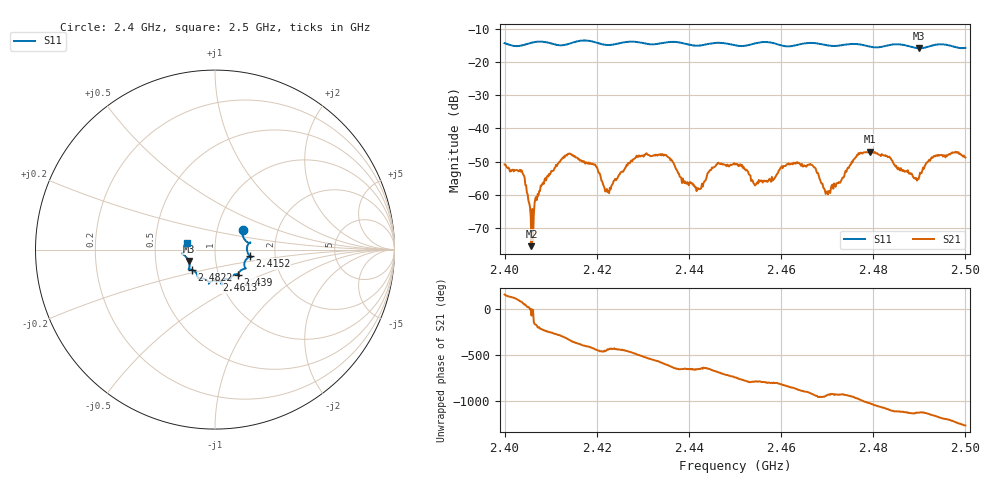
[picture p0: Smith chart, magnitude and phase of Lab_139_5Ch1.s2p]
# Hz S RI R 50
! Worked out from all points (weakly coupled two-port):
!   601 points, 2.4 GHz to 2.5 GHz, reference 50 ohm
!   highest |S21| = -46.96 dB at 2.4793 GHz (marker M1); lowest = -75.4 dB at 2.4058 GHz (marker M2)
!   lowest |S11| = -15.9 dB at 2.49 GHz (marker M3), VSWR 1.38, Z = 36.9 - j4.84 ohm
!   |S11| at or under -10 dB: start of sweep to end of sweep
!   S12 and S22 are empty: the file has one direction only
!   S11 on the Smith chart (normalised r, x): 2.4 GHz: 1.33, +0.31; 2.4152 GHz: 1.48, -0.11; 2.439 GHz: 1.24, -0.36; 2.4613 GHz: 0.96, -0.34; 2.4822 GHz: 0.76, -0.17; 2.5 GHz: 0.72, +0.05
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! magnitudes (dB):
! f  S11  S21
! 2.4 GHz  -14.4  -50.8
! 2.4038 GHz  -15.0  -53.1
! 2.4058 GHz  -14.2  -75.4
! 2.4083 GHz  -13.9  -56.3
! 2.4152 GHz  -14.1  -48.3
! 2.4167 GHz  -13.6  -49.7
! 2.4223 GHz  -14.9  -59.2
! 2.4283 GHz  -14.0  -48.9
! 2.4333 GHz  -14.6  -48.0
! 2.439 GHz  -14.5  -56.4
! 2.4422 GHz  -15.1  -58.3
! 2.45 GHz  -15.0  -50.9
! 2.4545 GHz  -14.4  -56.9
! 2.4613 GHz  -15.3  -50.7
! 2.4667 GHz  -14.3  -51.0
! 2.4702 GHz  -15.1  -59.9
! 2.4793 GHz  -15.5  -47.0
! 2.4822 GHz  -15.4  -48.1
! 2.4833 GHz  -15.0  -48.6
! 2.49 GHz  -15.9  -54.4
! 2.4932 GHz  -15.0  -48.3
! 2.5 GHz  -15.8  -48.8
